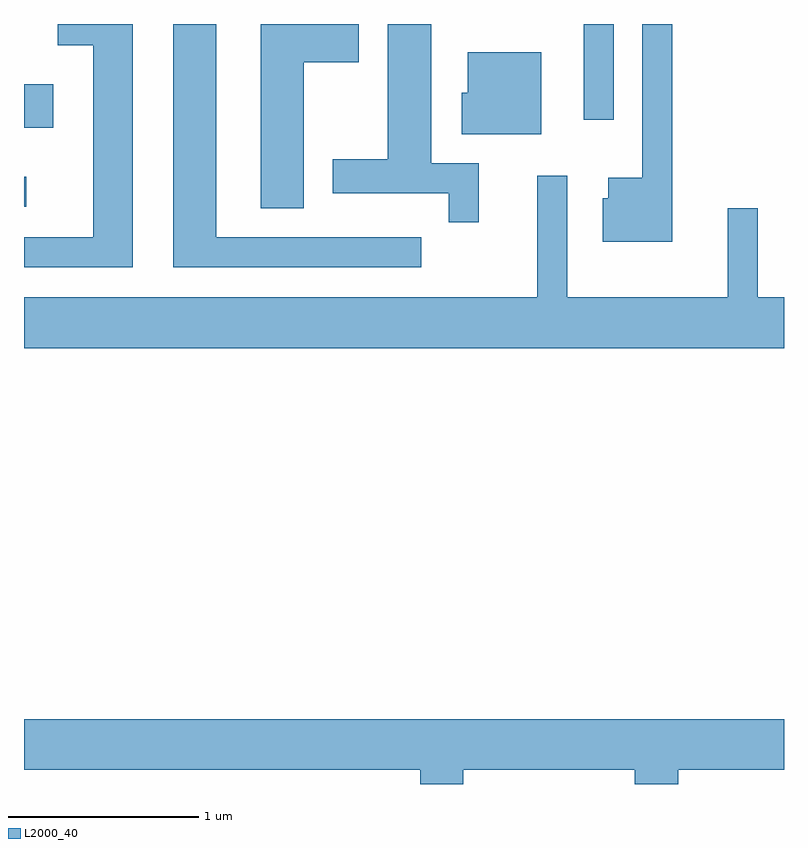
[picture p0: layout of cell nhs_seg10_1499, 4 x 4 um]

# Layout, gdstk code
import gdstk
lib = gdstk.Library(unit=1e-6, precision=1e-09)
def R(c, l, rs):  # rectangles x0, y0, x1, y1
    for r in rs: c.add(gdstk.rectangle(r[:2], r[2:], *l))
def P(c, l, *ps):  # polygons
    for p in ps: c.add(gdstk.Polygon(p, *l))
L2000_40 = (2000, 40)

nhs_seg10_1499 = lib.new_cell('nhs_seg10_1499')
R(nhs_seg10_1499, L2000_40, [(229.611,2103.561,229.623,2103.719), (229.611,2103.976,229.764,2104.204), (232.556,2104.018,232.714,2104.522)])
P(nhs_seg10_1499, L2000_40, [(230.184,2104.522),(229.788,2104.522),(229.788,2104.411),(229.976,2104.411),(229.976,2103.399),(229.611,2103.399),(229.611,2103.241),(230.184,2103.241)],
  [(232.004,2103.789),(231.754,2103.789),(231.754,2104.522),(231.526,2104.522),(231.526,2103.809),(231.236,2103.809),(231.236,2103.631),(231.846,2103.631),(231.846,2103.478),(232.004,2103.478)],
  [(233.024,2104.522),(232.866,2104.522),(232.866,2103.714),(232.686,2103.714),(232.686,2103.604),(232.656,2103.604),(232.656,2103.376),(233.024,2103.376)],
  [(231.084,2104.321),(231.374,2104.321),(231.374,2104.522),(230.856,2104.522),(230.856,2103.551),(231.084,2103.551)],
  [(231.703,2103.399),(230.624,2103.399),(230.624,2104.522),(230.396,2104.522),(230.396,2103.241),(231.703,2103.241)],
  [(232.334,2104.374),(231.946,2104.374),(231.946,2104.159),(231.916,2104.159),(231.916,2103.941),(232.334,2103.941)],
  [(233.611,2103.084),(233.474,2103.084),(233.474,2103.553),(233.316,2103.553),(233.316,2103.084),(232.469,2103.084),(232.469,2103.723),(232.311,2103.723),(232.311,2103.084),(229.611,2103.084),(229.611,2102.816),(233.611,2102.816)],
  [(231.924,2100.596),(232.826,2100.596),(232.826,2100.522),(233.054,2100.522),(233.054,2100.596),(233.611,2100.596),(233.611,2100.864),(229.611,2100.864),(229.611,2100.596),(231.696,2100.596),(231.696,2100.522),(231.924,2100.522)])

lib.write_gds('nhs_seg10_1499.gds')
